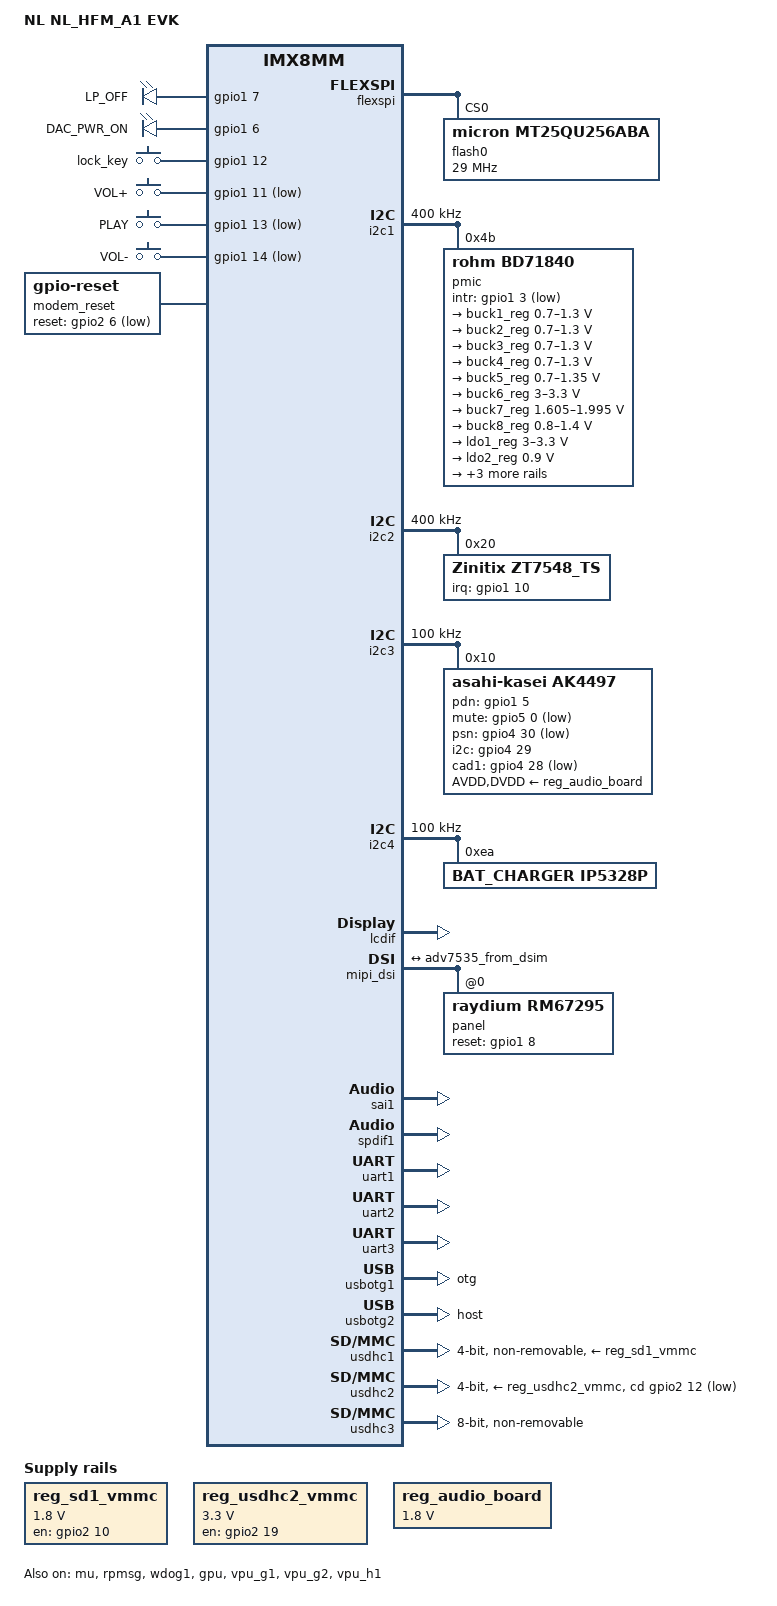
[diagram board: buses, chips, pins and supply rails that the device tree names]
/*
 * Copyright 2018 NXP
 *
 * This program is free software; you can redistribute it and/or
 * modify it under the terms of the GNU General Public License
 * as published by the Free Software Foundation; either version 2
 * of the License, or (at your option) any later version.
 *
 * This program is distributed in the hope that it will be useful,
 * but WITHOUT ANY WARRANTY; without even the implied warranty of
 * MERCHANTABILITY or FITNESS FOR A PARTICULAR PURPOSE.  See the
 * GNU General Public License for more details.
 */

/dts-v1/;

#include "fsl-imx8mm.dtsi"

/ {
	model = "NL NL_HFM_A1 EVK";
	compatible = "NL,NL_HFM_A1", "fsl,imx8mm";

	chosen {
		bootargs = "console=ttymxc1,115200 earlycon=ec_imx6q,0x30890000,115200";
		stdout-path = &uart2;
	};

	leds {
		compatible = "gpio-leds";
		pinctrl-names = "default";
		pinctrl-0 = <&pinctrl_gpio_led>;

		status1 {
			label = "LP_OFF";
			gpios = <&gpio1 7 0>;
			default-state = "on";	
		};

		status2{
			label = "DAC_PWR_ON";
			gpios = <&gpio1 6 0>;
			default-state = "on";	
		};

	};


	keys {
		compatible = "gpio-keys";
		input-name = "gpio-keys";//qwb 20201020 add
		pinctrl-names = "default";
		pinctrl-0 = <&pinctrl_keys>;
		
		lock_key{
				label = "lock_key";
				gpios = <&gpio1 12 GPIO_ACTIVE_HIGH>;
				gpio-key,wakeup;
            	linux,code = <KEY_SCREENLOCK>;/*in 检测 长按关机 短按锁屏*/
		};

		VOL+{
				label = "VOL+";
				gpios = <&gpio1 11 GPIO_ACTIVE_LOW>;
				gpio-key,wakeup;
            	linux,code = <KEY_VOLUMEUP>;/*in 检测 长按切歌曲下一首 短按 音量+ */
		};
		PLAY{
				label = "PLAY";
				gpios = <&gpio1 13 GPIO_ACTIVE_LOW>;
				gpio-key,wakeup;
            	linux,code = <KEY_PLAY>;/*in 检测  播放 暂停  */
		};
		VOL-{
				label = "VOL-";
				gpios = <&gpio1 14 GPIO_ACTIVE_LOW>;
				gpio-key,wakeup;
            	linux,code = <KEY_VOLUMEDOWN>;/*in 检测 长按切歌曲上一首 短按 音量- */
		
		};						
	};

	modem_reset: modem-reset {
		compatible = "gpio-reset";
		reset-gpios = <&gpio2 6 GPIO_ACTIVE_LOW>;
		reset-delay-us = <2000>;
		reset-post-delay-ms = <40>;
		#reset-cells = <0>;
	};

	regulators {
		compatible = "simple-bus";
		#address-cells = <1>;
		#size-cells = <0>;

		reg_sd1_vmmc: sd1_regulator {
			compatible = "regulator-fixed";
			regulator-name = "WLAN_EN";
			regulator-min-microvolt = <1800000>;
			regulator-max-microvolt = <1800000>;
			gpio = <&gpio2 10 GPIO_ACTIVE_HIGH>;
			off-on-delay = <20000>;
			startup-delay-us = <100>;
			enable-active-high;
		};

		reg_usdhc2_vmmc: regulator-usdhc2 {
			compatible = "regulator-fixed";
			regulator-name = "VSD_3V3";
			regulator-min-microvolt = <3300000>;
			regulator-max-microvolt = <3300000>;
			gpio = <&gpio2 19 GPIO_ACTIVE_HIGH>;
			off-on-delay = <20000>;
			enable-active-high;
		};

		reg_audio_board: regulator-audio-board {
			compatible = "regulator-fixed";
			regulator-name = "EXT_PWREN";
			regulator-min-microvolt = <1800000>;
			regulator-max-microvolt = <1800000>;
			startup-delay-us = <300000>;
		};
		
	};


	sound-ak4497 {
		compatible = "fsl,imx-audio-ak4497"; 
		model = "ak4497-audio";
		audio-cpu = <&sai1>;
		audio-codec = <&ak4497>;
		status = "okay";
	};

	sound-spdif {
		compatible = "fsl,imx-audio-spdif";
		model = "imx-spdif";
		spdif-controller = <&spdif1>;
		spdif-out;
		spdif-in;
		status = "disabled";
	};

};

&clk {
	assigned-clocks = <&clk IMX8MM_AUDIO_PLL1>, <&clk IMX8MM_AUDIO_PLL2>;
	assigned-clock-rates = <786432000>, <722534400>;
};

&iomuxc {
	pinctrl-names = "default";

	NL_HFM_A1 {
		pinctrl_keys: keysgrp {
			fsl,pins = <
				//MX8MM_IOMUXC_GPIO1_IO07_GPIO1_IO7				0x1950/*0001 1001‬ Disable pull resistors Select CMOS input Select pull-down resistors Disable open-drain mode FAST  00X Drive strength X1*/
				MX8MM_IOMUXC_GPIO1_IO11_GPIO1_IO11				0x19			
				MX8MM_IOMUXC_GPIO1_IO12_GPIO1_IO12              0x19										   
				MX8MM_IOMUXC_GPIO1_IO13_GPIO1_IO13              0x19
				MX8MM_IOMUXC_GPIO1_IO14_GPIO1_IO14 				0x19
			>;
		};


		pinctrl_gpio_led: gpioledgrp {
			fsl,pins = <
				MX8MM_IOMUXC_GPIO1_IO07_GPIO1_IO7	0x19//system power on 
				
				MX8MM_IOMUXC_GPIO1_IO06_GPIO1_IO6	0x19//DAC power on
			>;
		};


		pinctrl_mipi_dsi_en: mipi_dsi_en {
			fsl,pins = <
				MX8MM_IOMUXC_GPIO1_IO08_GPIO1_IO8		0x16
			>;
		};

		pinctrl_i2c2_synaptics_dsx_io: synaptics_dsx_iogrp {
			fsl,pins = <
				MX8MM_IOMUXC_GPIO1_IO10_GPIO1_IO10		0x19	/* Touch int */
			>;
		};

		pinctrl_flexspi0: flexspi0grp {
			fsl,pins = <
				MX8MM_IOMUXC_NAND_ALE_QSPI_A_SCLK			0x1c2
				MX8MM_IOMUXC_NAND_CE0_B_QSPI_A_SS0_B		0x82
				MX8MM_IOMUXC_NAND_DATA00_QSPI_A_DATA0		0x82
				MX8MM_IOMUXC_NAND_DATA01_QSPI_A_DATA1		0x82
				MX8MM_IOMUXC_NAND_DATA02_QSPI_A_DATA2		0x82
				MX8MM_IOMUXC_NAND_DATA03_QSPI_A_DATA3		0x82
			>;
		};


		pinctrl_i2c1: i2c1grp {
			fsl,pins = <
				MX8MM_IOMUXC_I2C1_SCL_I2C1_SCL			0x400001c3
				MX8MM_IOMUXC_I2C1_SDA_I2C1_SDA			0x400001c3
			>;
		};

		pinctrl_i2c2: i2c2grp {
			fsl,pins = <
				MX8MM_IOMUXC_I2C2_SCL_I2C2_SCL			0x400001c3
				MX8MM_IOMUXC_I2C2_SDA_I2C2_SDA			0x400001c3
			>;
		};

		pinctrl_i2c3: i2c3grp {
			fsl,pins = <
				MX8MM_IOMUXC_I2C3_SCL_I2C3_SCL			0x400001c3
				MX8MM_IOMUXC_I2C3_SDA_I2C3_SDA			0x400001c3
										
				MX8MM_IOMUXC_GPIO1_IO05_GPIO1_IO5		0x19									 
				MX8MM_IOMUXC_SAI3_TXC_GPIO5_IO0			0x19				   
				MX8MM_IOMUXC_SAI3_RXD_GPIO4_IO30		0x19
				MX8MM_IOMUXC_SAI3_RXC_GPIO4_IO29		0x19
				MX8MM_IOMUXC_SAI3_RXFS_GPIO4_IO28		0x19		


			
			>;
		};

		pinctrl_i2c4: i2c4grp {/*BAT chager*/
			fsl,pins = <
				MX8MM_IOMUXC_I2C4_SCL_I2C4_SCL          0x400001c3
				MX8MM_IOMUXC_I2C4_SDA_I2C4_SDA          0x400001c3
										  
                        >;
                };

		pinctrl_pmic: pmicirq {
			fsl,pins = <
				MX8MM_IOMUXC_GPIO1_IO03_GPIO1_IO3		0x41
			>;
		};
		pinctrl_sai1: sai1grp {
			fsl,pins = <
				MX8MM_IOMUXC_SAI1_MCLK_SAI1_MCLK	0xd6
				MX8MM_IOMUXC_SAI1_TXFS_SAI1_TX_SYNC	0xd6
				MX8MM_IOMUXC_SAI1_RXD7_SAI1_TX_SYNC	0xd6
				MX8MM_IOMUXC_SAI1_TXC_SAI1_TX_BCLK	0xd6
				MX8MM_IOMUXC_SAI1_TXD0_SAI1_TX_DATA0	0xd6
				MX8MM_IOMUXC_SAI1_TXD1_SAI1_TX_DATA1	0xd6
				MX8MM_IOMUXC_SAI1_TXD2_SAI1_TX_DATA2	0xd6
				MX8MM_IOMUXC_SAI1_TXD3_SAI1_TX_DATA3	0xd6
				MX8MM_IOMUXC_SAI1_TXD4_SAI1_TX_DATA4	0xd6
				MX8MM_IOMUXC_SAI1_TXD5_SAI1_TX_DATA5	0xd6
				MX8MM_IOMUXC_SAI1_TXD6_SAI1_TX_DATA6	0xd6
				MX8MM_IOMUXC_SAI1_TXD7_SAI1_TX_DATA7	0xd6
		  

			>;
		};

		pinctrl_sai1_dsd: sai1grp_dsd {
			fsl,pins = <
				MX8MM_IOMUXC_SAI1_MCLK_SAI1_MCLK	0xd6
				MX8MM_IOMUXC_SAI1_TXFS_SAI1_TX_SYNC	0xd6
				MX8MM_IOMUXC_SAI1_RXD7_SAI1_TX_DATA4	0xd6
				MX8MM_IOMUXC_SAI1_TXC_SAI1_TX_BCLK	0xd6
				MX8MM_IOMUXC_SAI1_TXD0_SAI1_TX_DATA0	0xd6
				MX8MM_IOMUXC_SAI1_TXD1_SAI1_TX_DATA1	0xd6
				MX8MM_IOMUXC_SAI1_TXD2_SAI1_TX_DATA2	0xd6
				MX8MM_IOMUXC_SAI1_TXD3_SAI1_TX_DATA3	0xd6
				MX8MM_IOMUXC_SAI1_TXD4_SAI1_TX_DATA4	0xd6
				MX8MM_IOMUXC_SAI1_TXD5_SAI1_TX_DATA5	0xd6
				MX8MM_IOMUXC_SAI1_TXD6_SAI1_TX_DATA6	0xd6
				MX8MM_IOMUXC_SAI1_TXD7_SAI1_TX_DATA7	0xd6
					
			>;
		};




		pinctrl_spdif1: spdif1grp {
			fsl,pins = <
				MX8MM_IOMUXC_SPDIF_TX_SPDIF1_OUT	0xd6
				MX8MM_IOMUXC_SPDIF_RX_SPDIF1_IN		0xd6
			>;
		};

		pinctrl_uart1: uart1grp {
			fsl,pins = <
				MX8MM_IOMUXC_UART1_RXD_UART1_DCE_RX	0x140
				MX8MM_IOMUXC_UART1_TXD_UART1_DCE_TX	0x140
				MX8MM_IOMUXC_UART3_RXD_UART1_DCE_CTS_B	0x140
				MX8MM_IOMUXC_UART3_TXD_UART1_DCE_RTS_B	0x140
				MX8MM_IOMUXC_SD1_DATA4_GPIO2_IO6	0x19
				   
			>;
		};

		pinctrl_uart2: uart2grp {
			fsl,pins = <
				MX8MM_IOMUXC_UART2_RXD_UART2_DCE_RX	0x140
				MX8MM_IOMUXC_UART2_TXD_UART2_DCE_TX	0x140
			>;
		};

		pinctrl_uart3: uart3grp {
			fsl,pins = <
				MX8MM_IOMUXC_ECSPI1_SCLK_UART3_DCE_RX		0x140
				MX8MM_IOMUXC_ECSPI1_MOSI_UART3_DCE_TX		0x140
				MX8MM_IOMUXC_ECSPI1_SS0_UART3_DCE_RTS_B		0x140
				MX8MM_IOMUXC_ECSPI1_MISO_UART3_DCE_CTS_B	0x140
			>;
		};
		pinctrl_uart4: uart4grp {
			fsl,pins = < 
				MX8MM_IOMUXC_UART4_RXD_UART4_DCE_RX      0x140
				MX8MM_IOMUXC_UART4_TXD_UART4_DCE_TX      0x140
			>;
		};						   

		pinctrl_usdhc1_gpio: usdhc1grpgpio {
			fsl,pins = <
				MX8MM_IOMUXC_SD1_RESET_B_GPIO2_IO10	0x41
			>;
		};

		pinctrl_usdhc1: usdhc1grp {
			fsl,pins = <
				MX8MM_IOMUXC_SD1_CLK_USDHC1_CLK		0x190
				MX8MM_IOMUXC_SD1_CMD_USDHC1_CMD		0x1d0
				MX8MM_IOMUXC_SD1_DATA0_USDHC1_DATA0	0x1d0
				MX8MM_IOMUXC_SD1_DATA1_USDHC1_DATA1	0x1d0
				MX8MM_IOMUXC_SD1_DATA2_USDHC1_DATA2	0x1d0
				MX8MM_IOMUXC_SD1_DATA3_USDHC1_DATA3	0x1d0
			>;
		};

		pinctrl_usdhc1_100mhz: usdhc1grp100mhz {
			fsl,pins = <
				MX8MM_IOMUXC_SD1_CLK_USDHC1_CLK		0x194
				MX8MM_IOMUXC_SD1_CMD_USDHC1_CMD		0x1d4
				MX8MM_IOMUXC_SD1_DATA0_USDHC1_DATA0	0x1d4
				MX8MM_IOMUXC_SD1_DATA1_USDHC1_DATA1	0x1d4
				MX8MM_IOMUXC_SD1_DATA2_USDHC1_DATA2	0x1d4
				MX8MM_IOMUXC_SD1_DATA3_USDHC1_DATA3	0x1d4
			>;
		};

		pinctrl_usdhc1_200mhz: usdhc1grp200mhz {
			fsl,pins = <
				MX8MM_IOMUXC_SD1_CLK_USDHC1_CLK		0x196
				MX8MM_IOMUXC_SD1_CMD_USDHC1_CMD		0x1d6
				MX8MM_IOMUXC_SD1_DATA0_USDHC1_DATA0	0x1d6
				MX8MM_IOMUXC_SD1_DATA1_USDHC1_DATA1	0x1d6
				MX8MM_IOMUXC_SD1_DATA2_USDHC1_DATA2	0x1d6
				MX8MM_IOMUXC_SD1_DATA3_USDHC1_DATA3	0x1d6
			>;
		};


		pinctrl_usdhc2_gpio: usdhc2grpgpio {
			fsl,pins = <
				MX8MM_IOMUXC_GPIO1_IO15_GPIO1_IO15	0x1c4
				MX8MM_IOMUXC_SD2_RESET_B_GPIO2_IO19	0x41
			>;
		};

		pinctrl_usdhc2: usdhc2grp {
			fsl,pins = <
				MX8MM_IOMUXC_SD2_CLK_USDHC2_CLK		0x190
				MX8MM_IOMUXC_SD2_CMD_USDHC2_CMD		0x1d0
				MX8MM_IOMUXC_SD2_DATA0_USDHC2_DATA0	0x1d0
				MX8MM_IOMUXC_SD2_DATA1_USDHC2_DATA1	0x1d0
				MX8MM_IOMUXC_SD2_DATA2_USDHC2_DATA2	0x1d0
				MX8MM_IOMUXC_SD2_DATA3_USDHC2_DATA3	0x1d0
				MX8MM_IOMUXC_GPIO1_IO04_USDHC2_VSELECT	0x1d0
			>;
		};

		pinctrl_usdhc2_100mhz: usdhc2grp100mhz {
			fsl,pins = <
				MX8MM_IOMUXC_SD2_CLK_USDHC2_CLK		0x194
				MX8MM_IOMUXC_SD2_CMD_USDHC2_CMD		0x1d4
				MX8MM_IOMUXC_SD2_DATA0_USDHC2_DATA0	0x1d4
				MX8MM_IOMUXC_SD2_DATA1_USDHC2_DATA1	0x1d4
				MX8MM_IOMUXC_SD2_DATA2_USDHC2_DATA2	0x1d4
				MX8MM_IOMUXC_SD2_DATA3_USDHC2_DATA3	0x1d4
				MX8MM_IOMUXC_GPIO1_IO04_USDHC2_VSELECT	0x1d0
			>;
		};

		pinctrl_usdhc2_200mhz: usdhc2grp200mhz {
			fsl,pins = <
				MX8MM_IOMUXC_SD2_CLK_USDHC2_CLK		0x196
				MX8MM_IOMUXC_SD2_CMD_USDHC2_CMD		0x1d6
				MX8MM_IOMUXC_SD2_DATA0_USDHC2_DATA0	0x1d6
				MX8MM_IOMUXC_SD2_DATA1_USDHC2_DATA1	0x1d6
				MX8MM_IOMUXC_SD2_DATA2_USDHC2_DATA2	0x1d6
				MX8MM_IOMUXC_SD2_DATA3_USDHC2_DATA3	0x1d6
				MX8MM_IOMUXC_GPIO1_IO04_USDHC2_VSELECT	0x1d0
			>;
		};

		pinctrl_usdhc3: usdhc3grp {
			fsl,pins = <
				MX8MM_IOMUXC_NAND_WE_B_USDHC3_CLK		0x190
				MX8MM_IOMUXC_NAND_WP_B_USDHC3_CMD		0x1d0
				MX8MM_IOMUXC_NAND_DATA04_USDHC3_DATA0		0x1d0
				MX8MM_IOMUXC_NAND_DATA05_USDHC3_DATA1		0x1d0
				MX8MM_IOMUXC_NAND_DATA06_USDHC3_DATA2		0x1d0
				MX8MM_IOMUXC_NAND_DATA07_USDHC3_DATA3		0x1d0
				MX8MM_IOMUXC_NAND_RE_B_USDHC3_DATA4		0x1d0
				MX8MM_IOMUXC_NAND_CE2_B_USDHC3_DATA5		0x1d0
				MX8MM_IOMUXC_NAND_CE3_B_USDHC3_DATA6		0x1d0
				MX8MM_IOMUXC_NAND_CLE_USDHC3_DATA7		0x1d0
				MX8MM_IOMUXC_NAND_CE1_B_USDHC3_STROBE 		0x190
			>;
		};

		pinctrl_usdhc3_100mhz: usdhc3grp100mhz {
			fsl,pins = <
				MX8MM_IOMUXC_NAND_WE_B_USDHC3_CLK		0x194
				MX8MM_IOMUXC_NAND_WP_B_USDHC3_CMD		0x1d4
				MX8MM_IOMUXC_NAND_DATA04_USDHC3_DATA0		0x1d4
				MX8MM_IOMUXC_NAND_DATA05_USDHC3_DATA1		0x1d4
				MX8MM_IOMUXC_NAND_DATA06_USDHC3_DATA2		0x1d4
				MX8MM_IOMUXC_NAND_DATA07_USDHC3_DATA3		0x1d4
				MX8MM_IOMUXC_NAND_RE_B_USDHC3_DATA4		0x1d4
				MX8MM_IOMUXC_NAND_CE2_B_USDHC3_DATA5		0x1d4
				MX8MM_IOMUXC_NAND_CE3_B_USDHC3_DATA6		0x1d4
				MX8MM_IOMUXC_NAND_CLE_USDHC3_DATA7		0x1d4
				MX8MM_IOMUXC_NAND_CE1_B_USDHC3_STROBE 		0x194
			>;
		};

		pinctrl_usdhc3_200mhz: usdhc3grp200mhz {
			fsl,pins = <
				MX8MM_IOMUXC_NAND_WE_B_USDHC3_CLK		0x196
				MX8MM_IOMUXC_NAND_WP_B_USDHC3_CMD		0x1d6
				MX8MM_IOMUXC_NAND_DATA04_USDHC3_DATA0		0x1d6
				MX8MM_IOMUXC_NAND_DATA05_USDHC3_DATA1		0x1d6
				MX8MM_IOMUXC_NAND_DATA06_USDHC3_DATA2		0x1d6
				MX8MM_IOMUXC_NAND_DATA07_USDHC3_DATA3		0x1d6
				MX8MM_IOMUXC_NAND_RE_B_USDHC3_DATA4		0x1d6
				MX8MM_IOMUXC_NAND_CE2_B_USDHC3_DATA5		0x1d6
				MX8MM_IOMUXC_NAND_CE3_B_USDHC3_DATA6		0x1d6
				MX8MM_IOMUXC_NAND_CLE_USDHC3_DATA7		0x1d6
				MX8MM_IOMUXC_NAND_CE1_B_USDHC3_STROBE 		0x196
			>;
		};

		pinctrl_wdog: wdoggrp {
			fsl,pins = <
				MX8MM_IOMUXC_GPIO1_IO02_WDOG1_WDOG_B		0xc6
			>;
		};
	};
};

&flexspi {
	pinctrl-names = "default";
	pinctrl-0 = <&pinctrl_flexspi0>;
	status = "okay";

	flash0: mt25qu256aba@0 {
		reg = <0>;
		#address-cells = <1>;
		#size-cells = <1>;
		compatible = "micron,mt25qu256aba";
		spi-max-frequency = <29000000>;
		spi-nor,ddr-quad-read-dummy = <6>;
	};
};



&i2c1 {
	clock-frequency = <400000>;
	pinctrl-names = "default";
	pinctrl-0 = <&pinctrl_i2c1>;
	status = "okay";

	pmic: bd71837@4b {
		reg = <0x4b>;
		compatible = "rohm,bd71840", "rohm,bd71837";
		/* PMIC BD71837 PMIC_nINT GPIO1_IO3 */
		pinctrl-0 = <&pinctrl_pmic>;
		gpio_intr = <&gpio1 3 GPIO_ACTIVE_LOW>;

		gpo {
			rohm,drv = <0x0C>;	/* 0b0000_1100 all gpos with cmos output mode */
		};

		regulators {
			#address-cells = <1>;
			#size-cells = <0>;

			bd71837,pmic-buck2-uses-i2c-dvs;
			bd71837,pmic-buck2-dvs-voltage = <1000000>, <900000>, <0>; /* VDD_ARM: Run-Idle */

			buck1_reg: regulator@0 {
				reg = <0>;
				regulator-compatible = "buck1";
				regulator-min-microvolt = <700000>;
				regulator-max-microvolt = <1300000>;
				regulator-boot-on;
				regulator-always-on;
				regulator-ramp-delay = <1250>;
			};

			buck2_reg: regulator@1 {
				reg = <1>;
				regulator-compatible = "buck2";
				regulator-min-microvolt = <700000>;
				regulator-max-microvolt = <1300000>;
				regulator-boot-on;
				regulator-always-on;
				regulator-ramp-delay = <1250>;
			};

			buck3_reg: regulator@2 {
				reg = <2>;
				regulator-compatible = "buck3";
				regulator-min-microvolt = <700000>;
				regulator-max-microvolt = <1300000>;
			};

			buck4_reg: regulator@3 {
				reg = <3>;
				regulator-compatible = "buck4";
				regulator-min-microvolt = <700000>;
				regulator-max-microvolt = <1300000>;
			};

			buck5_reg: regulator@4 {
				reg = <4>;
				regulator-compatible = "buck5";
				regulator-min-microvolt = <700000>;
				regulator-max-microvolt = <1350000>;
				regulator-boot-on;
				regulator-always-on;
			};

			buck6_reg: regulator@5 {
				reg = <5>;
				regulator-compatible = "buck6";
				regulator-min-microvolt = <3000000>;
				regulator-max-microvolt = <3300000>;
				regulator-boot-on;
				regulator-always-on;
			};

			buck7_reg: regulator@6 {
				reg = <6>;
				regulator-compatible = "buck7";
				regulator-min-microvolt = <1605000>;
				regulator-max-microvolt = <1995000>;
				regulator-boot-on;
				regulator-always-on;
			};

			buck8_reg: regulator@7 {
				reg = <7>;
				regulator-compatible = "buck8";
				regulator-min-microvolt = <800000>;
				regulator-max-microvolt = <1400000>;
				regulator-boot-on;
				regulator-always-on;
			};

			ldo1_reg: regulator@8 {
				reg = <8>;
				regulator-compatible = "ldo1";
				regulator-min-microvolt = <3000000>;
				regulator-max-microvolt = <3300000>;
				regulator-boot-on;
				regulator-always-on;
			};

			ldo2_reg: regulator@9 {
				reg = <9>;
				regulator-compatible = "ldo2";
				regulator-min-microvolt = <900000>;
				regulator-max-microvolt = <900000>;
				regulator-boot-on;
				regulator-always-on;
			};

			ldo3_reg: regulator@10 {
				reg = <10>;
				regulator-compatible = "ldo3";
				regulator-min-microvolt = <1800000>;
				regulator-max-microvolt = <3300000>;
				regulator-boot-on;
				regulator-always-on;
			};

			ldo4_reg: regulator@11 {
				reg = <11>;
				regulator-compatible = "ldo4";
				regulator-min-microvolt = <900000>;
				regulator-max-microvolt = <1800000>;
				regulator-boot-on;
				regulator-always-on;
			};

			ldo6_reg: regulator@13 {
				reg = <13>;
				regulator-compatible = "ldo6";
				regulator-min-microvolt = <900000>;
				regulator-max-microvolt = <1800000>;
				regulator-boot-on;
				regulator-always-on;
			};
		};
	};
};
	


&i2c2 {
	clock-frequency = <400000>;
	pinctrl-names = "default";
	pinctrl-0 = <&pinctrl_i2c2>;
	status = "okay";
	
	adv_bridge: adv7535@3d {
		
		compatible = "adi,adv7533";
		reg = <0x3d>;
		adi,addr-cec = <0x3b>;
		adi,dsi-lanes = <4>;
		status = "disabled";		  
				  
		port {
			adv7535_from_dsim: endpoint {
				remote-endpoint = <&dsim_to_adv7535>;
				};
			};
		};
	zt7548_ts@20 {
		compatible = "Zinitix,zt7548_ts";
		zt7548,model_name = "zt7548";
		reg = <0x20>;
		pinctrl-names = "default";
		pinctrl-0 = <&pinctrl_i2c2_synaptics_dsx_io>;
		zinitix,irq-gpio = <&gpio1 10 IRQ_TYPE_LEVEL_LOW>;
		zt7548,x_resolution = <720>;//720
		zt7548,y_resolution = <1280>;//1280
		synaptics,diagonal-rotation;
		status = "okay";
	};				   
};


&i2c3 {
	clock-frequency = <100000>;
	pinctrl-names = "default";
	pinctrl-0 = <&pinctrl_i2c3>;
	status = "okay";
	ak4497: ak4497@10 {/*ak4497@10*/
	compatible = "asahi-kasei,ak4497"; 
	reg = <0x10>;
	//ak4497,pon-gpio = <&gpio1 6 GPIO_ACTIVE_HIGH>;/*power on H power supply L no power */
	ak4497,pdn-gpio = <&gpio1 5 GPIO_ACTIVE_HIGH>;/*power down mode H: work mode L: power_down mode  */
	ak4497,mute-gpio = <&gpio5 0 GPIO_ACTIVE_LOW>;/*AK_nMUTE H mute L mute relase*/
	ak4497,psn-gpio = <&gpio4 30 GPIO_ACTIVE_LOW>;/*AK_PSN H pin control Mode L Register Control Mode*/
	ak4497,i2c-gpio = <&gpio4 29 GPIO_ACTIVE_HIGH>;/*HLOAD/I2C = H I2C-bus Control Mode*/
	ak4497,cad1-gpio = <&gpio4 28 GPIO_ACTIVE_LOW>; /*CAD1 L   i2c address of ak4497 */	  
	
	AVDD-supply = <&reg_audio_board>;
	DVDD-supply = <&reg_audio_board>;   
	};							 
};



&i2c4 {
	clock-frequency = <100000>;
	pinctrl-names = "default";
	pinctrl-0 = <&pinctrl_i2c4>;
	status = "okay";
	IP5328P: IP5328P@EA {/*IP5328P@EA*/
	compatible = "BAT_CHARGER,IP5328P"; 
	reg = <0xEA>; 
	};							 
};



&lcdif {
	status = "okay";
};	



&mipi_dsi {

	status = "okay";

	panel@0 {
		compatible = "raydium,rm67295";
		reg = <0>;
		pinctrl-0 = <&pinctrl_mipi_dsi_en>;
		reset-gpio = <&gpio1 8 GPIO_ACTIVE_HIGH>;
		dsi-lanes = <4>;//4
		video-mode = <2>;	/* 0: burst mode
		* 1: non-burst mode with sync event
		* 2: non-burst mode with sync pulse
		*/
		panel-width-mm = <60>;//60
		panel-height-mm = <110>;//110
		/*
		display-timings {
			timing {
				clock-frequency = <90000000>;
				hactive = <720>;
				hfront-porch = <26>;
				hsync-len = <2>;//2
				hback-porch = <36>;
				hsync-active = <2>;//2
				vactive = <1280>;
				vfront-porch = <8>;
				vsync-len = <4>;
				vback-porch = <16>;
				vsync-active = <4>;//4
				de-active = <0>;
				pixelclk-active = <0>;//0 1
				};
			};	
			*/
	};
	
	
	port@1 {
		dsim_to_adv7535: endpoint {
			remote-endpoint = <&adv7535_from_dsim>;
			};
		};

	};			 
&mu {
	status = "okay";
};

&rpmsg{
	/*
	 * 64K for one rpmsg instance:
	 * --0xb8000000~0xb800ffff: pingpong
	 */
	vdev-nums = <1>;
	reg = <0x0 0xb8000000 0x0 0x10000>;
	status = "okay";
};

&sai1 {
	pinctrl-names = "default", "dsd";
	pinctrl-0 = <&pinctrl_sai1>;
	pinctrl-1 = <&pinctrl_sai1_dsd>;
	assigned-clocks = <&clk IMX8MM_CLK_SAI1_SRC>,
			<&clk IMX8MM_CLK_SAI1_DIV>;
	assigned-clock-parents = <&clk IMX8MM_AUDIO_PLL1_OUT>;
	assigned-clock-rates = <0>, <49152000>;
	clocks = <&clk IMX8MM_CLK_SAI1_IPG>, <&clk IMX8MM_CLK_DUMMY>,
		<&clk IMX8MM_CLK_SAI1_ROOT>, <&clk IMX8MM_CLK_DUMMY>,
		<&clk IMX8MM_CLK_DUMMY>, <&clk IMX8MM_AUDIO_PLL1_OUT>,
		<&clk IMX8MM_AUDIO_PLL2_OUT>;
	clock-names = "bus", "mclk0", "mclk1", "mclk2", "mclk3", "pll8k", "pll11k";
	fsl,sai-multi-lane;
	fsl,dataline,dsd = <0 0xff 0xff 2 0xff 0x11>;
	dmas = <&sdma2 0 26 0>, <&sdma2 1 26 0>;
	status = "okay";
};
&spdif1 {
	pinctrl-names = "default";
	pinctrl-0 = <&pinctrl_spdif1>;
	assigned-clocks = <&clk IMX8MM_CLK_SPDIF1_SRC>,
			<&clk IMX8MM_CLK_SPDIF1_DIV>;
	assigned-clock-parents = <&clk IMX8MM_AUDIO_PLL1_OUT>;
	assigned-clock-rates = <0>, <24576000>;
	clocks = <&clk IMX8MM_CLK_AUDIO_AHB_DIV>, <&clk IMX8MM_CLK_24M>,
		<&clk IMX8MM_CLK_SPDIF1_DIV>, <&clk IMX8MM_CLK_DUMMY>,
		<&clk IMX8MM_CLK_DUMMY>, <&clk IMX8MM_CLK_DUMMY>,
		<&clk IMX8MM_CLK_AUDIO_AHB_DIV>, <&clk IMX8MM_CLK_DUMMY>,
		<&clk IMX8MM_CLK_DUMMY>, <&clk IMX8MM_CLK_DUMMY>,
		<&clk IMX8MM_AUDIO_PLL1_OUT>, <&clk IMX8MM_AUDIO_PLL2_OUT>;
	clock-names = "core", "rxtx0", "rxtx1", "rxtx2", "rxtx3",
		"rxtx4", "rxtx5", "rxtx6", "rxtx7", "spba", "pll8k", "pll11k";
	status = "okay";
};



&uart1 { /* BT */
	pinctrl-names = "default";
	pinctrl-0 = <&pinctrl_uart1>;
	assigned-clocks = <&clk IMX8MM_CLK_UART1_SRC>;
	assigned-clock-parents = <&clk IMX8MM_SYS_PLL1_80M>;
	fsl,uart-has-rtscts;
	resets = <&modem_reset>;
	status = "okay";
};

&uart2 { /* console */
	pinctrl-names = "default";
	pinctrl-0 = <&pinctrl_uart2>;
	status = "okay";
};

&uart3 {
	pinctrl-names = "default";
	pinctrl-0 = <&pinctrl_uart3>;
	assigned-clocks = <&clk IMX8MM_CLK_UART3_SRC>;
	assigned-clock-parents = <&clk IMX8MM_SYS_PLL1_80M>;
	fsl,uart-has-rtscts;
	status = "okay";
};
&uart4 { 
        pinctrl-names = "default";
        pinctrl-0 = <&pinctrl_uart4>;
        status = "disabled";
};								  

&usbotg1 {
	dr_mode = "otg";

	picophy,pre-emp-curr-control = <3>;
	picophy,dc-vol-level-adjust = <7>;
	status = "okay";
};

&usbotg2 {
	dr_mode = "host";
	/*
	picophy,pre-emp-curr-control = <3>;
	picophy,dc-vol-level-adjust = <7>;
	*/
	status = "okay";
  
};
				  
&usdhc1 {
	pinctrl-names = "default", "state_100mhz", "state_200mhz";
	pinctrl-0 = <&pinctrl_usdhc1>, <&pinctrl_usdhc1_gpio>;
	pinctrl-1 = <&pinctrl_usdhc1_100mhz>, <&pinctrl_usdhc1_gpio>;
	pinctrl-2 = <&pinctrl_usdhc1_200mhz>, <&pinctrl_usdhc1_gpio>;
	bus-width = <4>;
	vmmc-supply = <&reg_sd1_vmmc>;
	pm-ignore-notify;
	keep-power-in-suspend;
	non-removable;
	status = "okay";
};
				   
&usdhc2 {
	pinctrl-names = "default", "state_100mhz", "state_200mhz";
	pinctrl-0 = <&pinctrl_usdhc2>, <&pinctrl_usdhc2_gpio>;
	pinctrl-1 = <&pinctrl_usdhc2_100mhz>, <&pinctrl_usdhc2_gpio>;
	pinctrl-2 = <&pinctrl_usdhc2_200mhz>, <&pinctrl_usdhc2_gpio>;
	cd-gpios = <&gpio2 12 GPIO_ACTIVE_LOW>;//qwb 
	bus-width = <4>;
	vmmc-supply = <&reg_usdhc2_vmmc>;
	status = "okay";
};


&usdhc3 {
	pinctrl-names = "default", "state_100mhz", "state_200mhz";
	pinctrl-0 = <&pinctrl_usdhc3>;
	pinctrl-1 = <&pinctrl_usdhc3_100mhz>;
	pinctrl-2 = <&pinctrl_usdhc3_200mhz>;
	bus-width = <8>;
	non-removable;
	status = "okay";
};

&wdog1 {
	pinctrl-names = "default";
	pinctrl-0 = <&pinctrl_wdog>;
	fsl,ext-reset-output;
	status = "okay";
};

&A53_0 {
	arm-supply = <&buck2_reg>;
};

&gpu {
	status = "okay";
};

&vpu_g1 {
	status = "okay";
};

&vpu_g2 {
	status = "okay";
};

&vpu_h1 {
	status = "okay";
};


